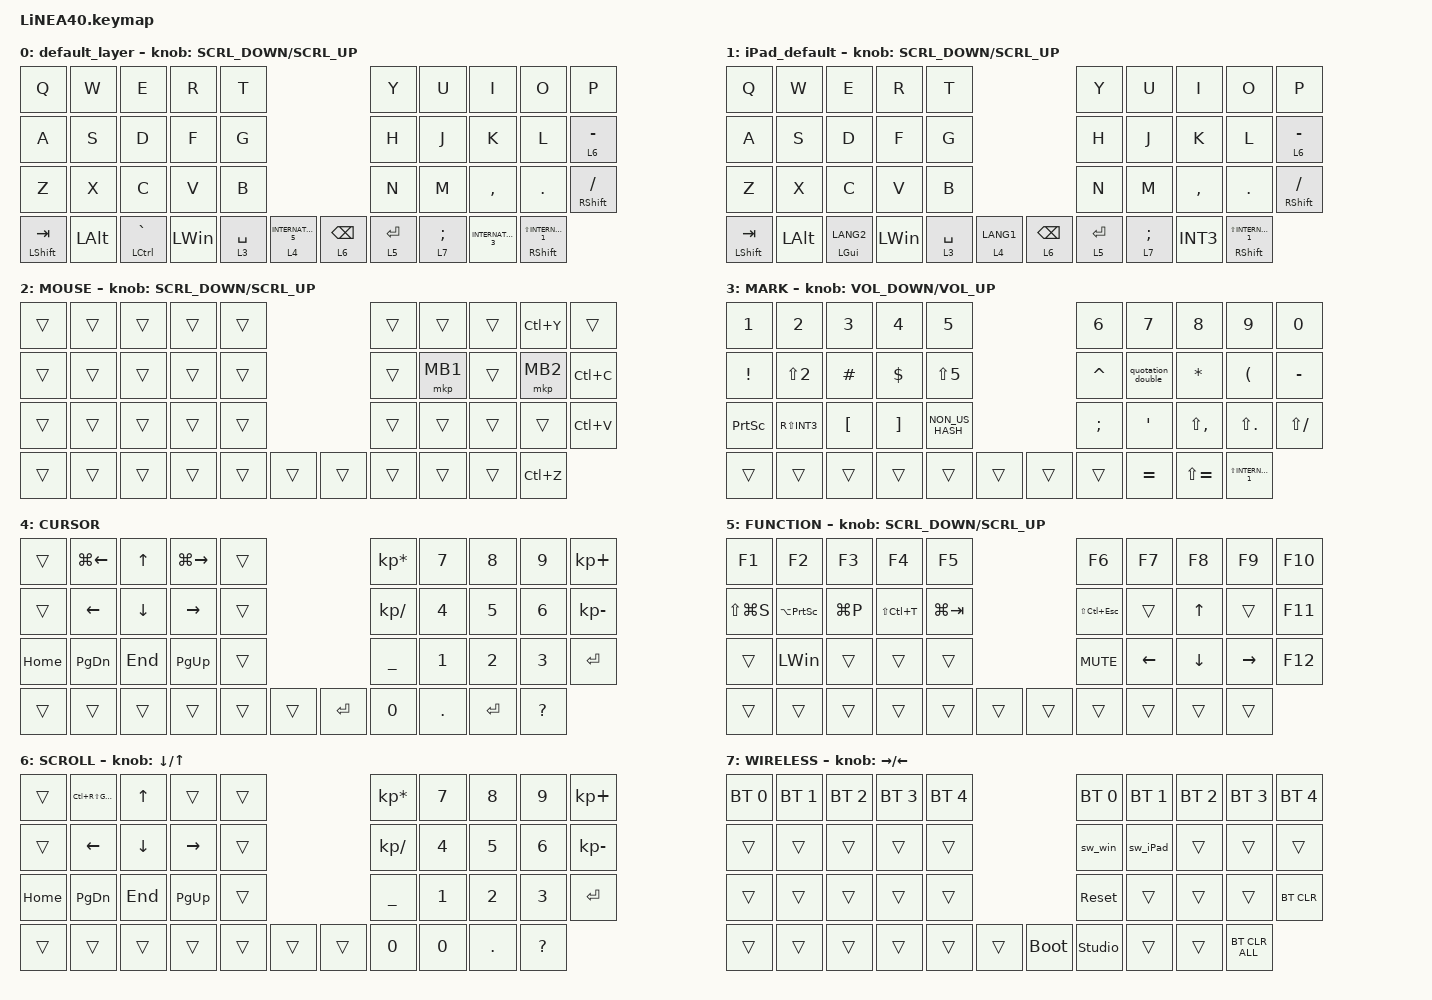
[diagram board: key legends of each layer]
#define ZMK_POINTING_DEFAULT_SCRL_VAL 150

#include <dt-bindings/zmk/input_transform.h>
#include <input/processors.dtsi>
#include <zephyr/dt-bindings/input/input-event-codes.h>
#include <behaviors.dtsi>
#include <dt-bindings/zmk/bt.h>
#include <dt-bindings/zmk/keys.h>
#include <dt-bindings/zmk/pointing.h>

#define MOUSE 1
#define MARK 2
#define CURSOR 3
#define FUNCTION 4
#define SCROLL 5
#define WIRELESS 6

//mouse cursol

&mmv {
    delay-ms = <20>;
    trigger-period-ms = <5>;
    time-to-max-speed-ms = <100>;
    acceleration-exponent = <2>;
};

//mouse scroll

&msc {
    delay-ms = <3>;
    trigger-period-ms = <3>;
    time-to-max-speed-ms = <100>;
    acceleration-exponent = <0>;
};

/ {
    input_processors {
        zip_wheel_scaler: zip_wheel_scaler {
            compatible = "zmk,input-processor-scaler";
            #input-processor-cells = <2>;
            type = <INPUT_EV_REL>;
            codes = <INPUT_REL_WHEEL>;
            track-remainders;
        };
    };
};

&msc_input_listener {
    speed_up {
        layers = <FUNCTION>;
        input-processors = <&zip_wheel_scaler 3 1>; //スクロールを3倍速にする
    };
};

&trackball_listener {
    scroller {
        layers = <SCROLL>;
        input-processors =
            <&zip_xy_transform INPUT_TRANSFORM_Y_INVERT>,
            //スクロール方向を逆転,,,,,,,,,,,,,,,,,,,,,,,
            <&zip_xy_to_scroll_mapper>;
    };
};

/ {
    combos {
        compatible = "zmk,combos";

        ZenkakuHankaku {
            bindings = <&kp GRAVE>;
            key-positions = <11 12>;
        };

        DeleteKey {
            bindings = <&kp DEL>;
            key-positions = <7 8>;
        };

        CenterClick {
            bindings = <&mkp MB3>;
            key-positions = <17 16>;
        };

        RightClick {
            bindings = <&mkp MB2>;
            key-positions = <18 17>;
        };

        PrevClick {
            bindings = <&mkp MB4>;
            key-positions = <27 28>;
        };

        ClickNext {
            bindings = <&mkp MB5>;
            key-positions = <26 27>;
        };

        Escape {
            bindings = <&kp ESCAPE>;
            key-positions = <0 1>;
        };

        toiPadtest {
            bindings = <&to 1>;
            key-positions = <4 14>;
        };

        to0foriPad {
            bindings = <&to 0>;
            key-positions = <5 15>;
        };

        ipadglobe {
            bindings = <&kp GLOBE>;
            key-positions = <1 2>;
        };
    };

    behaviors {
        re_kp: sensor_rotate_kp {
            compatible = "zmk,behavior-sensor-rotate-var";
            #sensor-binding-cells = <2>;
            bindings = <&kp>, <&kp>;
        };

        mouse_scrl: mouse_wheel_scrl {
            compatible = "zmk,behavior-sensor-rotate-var";
            #sensor-binding-cells = <2>;
            bindings = <&msc>, <&msc>;

            tap-ms = <20>;
        };

        quotation_double: quotation_double {
            compatible = "zmk,behavior-tap-dance";
            label = "QUOTATION_DOUBLE";
            #binding-cells = <0>;
            bindings = <&kp LS(N7)>, <&kp LS(NUMBER_2)>;
        };
    };

    macros {
        sw_win: sw_win {
            compatible = "zmk,behavior-macro";
            #binding-cells = <0>;
            bindings = <&bt BT_SEL 0>, <&macro_wait_time 200>, <&to 0>;

            label = "SW_WIN";
        };

        sw_iPad: sw_iPad {
            compatible = "zmk,behavior-macro";
            #binding-cells = <0>;
            bindings = <&bt BT_SEL 1>, <&macro_wait_time 200>, <&to 1>;

            label = "SW_IPAD";
        };
    };

    keymap {
        compatible = "zmk,keymap";

        default_layer {
            bindings = <
&kp Q               &kp W         &kp E                   &kp R         &kp T                                                  &kp Y        &kp U  &kp I       &kp O                &kp P
&kp A               &kp S         &kp D                   &kp F         &kp G                                                  &kp H        &kp J  &kp K       &kp L                &lt 6 MINUS
&kp Z               &kp X         &kp C                   &kp V         &kp B                                                  &kp N        &kp M  &kp COMMA   &kp DOT              &mt RIGHT_SHIFT SLASH
&mt LEFT_SHIFT TAB  &kp LEFT_ALT  &mt LEFT_CONTROL GRAVE  &kp LEFT_WIN  &lt 3 SPACE  &lt 4 INTERNATIONAL_5    &lt 6 BACKSPACE  &lt 5 ENTER         &lt 7 SEMI  &kp INTERNATIONAL_3  &mt RIGHT_SHIFT LS(INTERNATIONAL_1)
            >;

            sensor-bindings = <&mouse_scrl SCRL_DOWN SCRL_UP>;
        };

        iPad_default {
            bindings = <
&kp Q               &kp W         &kp E               &kp R         &kp T                                        &kp Y        &kp U  &kp I       &kp O     &kp P
&kp A               &kp S         &kp D               &kp F         &kp G                                        &kp H        &kp J  &kp K       &kp L     &lt 6 MINUS
&kp Z               &kp X         &kp C               &kp V         &kp B                                        &kp N        &kp M  &kp COMMA   &kp DOT   &mt RIGHT_SHIFT SLASH
&mt LEFT_SHIFT TAB  &kp LEFT_ALT  &mt LEFT_GUI LANG2  &kp LEFT_WIN  &lt 3 SPACE  &lt 4 LANG1    &lt 6 BACKSPACE  &lt 5 ENTER         &lt 7 SEMI  &kp INT3  &mt RIGHT_SHIFT LS(INTERNATIONAL_1)
            >;

            sensor-bindings = <&mouse_scrl SCRL_DOWN SCRL_UP>;
        };

        MOUSE {
            bindings = <
&trans  &trans  &trans  &trans  &trans                    &trans  &trans    &trans  &kp LC(Y)  &trans
&trans  &trans  &trans  &trans  &trans                    &trans  &mkp MB1  &trans  &mkp MB2   &kp LC(C)
&trans  &trans  &trans  &trans  &trans                    &trans  &trans    &trans  &trans     &kp LC(V)
&trans  &trans  &trans  &trans  &trans  &trans    &trans  &trans            &trans  &trans     &kp LC(Z)
            >;

            sensor-bindings = <&mouse_scrl SCRL_DOWN SCRL_UP>;
        };

        MARK {
            bindings = <
&kp NUMBER_1     &kp NUMBER_2      &kp NUMBER_3      &kp NUMBER_4       &kp N5                             &kp NUMBER_6   &kp N7             &kp N8         &kp N9                &kp N0
&kp EXCLAMATION  &kp LS(NUMBER_2)  &kp HASH          &kp DOLLAR         &kp LS(N5)                         &kp CARET      &quotation_double  &kp ASTERISK   &kp LEFT_PARENTHESIS  &kp MINUS
&kp PRINTSCREEN  &kp RS(INT3)      &kp LEFT_BRACKET  &kp RIGHT_BRACKET  &kp NON_US_HASH                    &kp SEMICOLON  &kp SINGLE_QUOTE   &kp LS(COMMA)  &kp LS(PERIOD)        &kp LS(SLASH)
&trans           &trans            &trans            &trans             &trans           &trans    &trans  &trans                            &kp EQUAL      &kp LS(EQUAL)         &kp LS(INTERNATIONAL_1)
            >;

            sensor-bindings = <&re_kp C_VOLUME_DOWN C_VOLUME_UP>;
        };

        CURSOR {
            bindings = <
&trans    &kp LG(LEFT_ARROW)  &kp UP_ARROW  &kp LG(RIGHT_ARROW)  &trans                       &kp KP_MULTIPLY  &kp NUMBER_7  &kp NUMBER_8  &kp NUMBER_9  &kp KP_PLUS
&trans    &kp LEFT_ARROW      &kp DOWN      &kp RIGHT_ARROW      &trans                       &kp KP_SLASH     &kp NUMBER_4  &kp NUMBER_5  &kp NUMBER_6  &kp KP_MINUS
&kp HOME  &kp PAGE_DOWN       &kp END       &kp PAGE_UP          &trans                       &kp UNDER        &kp NUMBER_1  &kp NUMBER_2  &kp NUMBER_3  &kp ENTER
&trans    &trans              &trans        &trans               &trans  &trans    &kp ENTER  &kp NUMBER_0                   &kp DOT       &kp ENTER     &kp QUESTION
            >;
        };

        FUNCTION {
            bindings = <
&kp F1         &kp F2               &kp F3     &kp F4         &kp F5                         &kp F6              &kp F7          &kp F8        &kp F9           &kp F10
&kp LS(LG(S))  &kp LA(PRINTSCREEN)  &kp LG(P)  &kp LS(LC(T))  &kp LG(TAB)                    &kp LS(LC(ESCAPE))  &trans          &kp UP_ARROW  &trans           &kp F11
&trans         &kp LEFT_WIN         &trans     &trans         &trans                         &kp C_MUTE          &kp LEFT_ARROW  &kp DOWN      &kp RIGHT_ARROW  &kp F12
&trans         &trans               &trans     &trans         &trans       &trans    &trans  &trans                              &trans        &trans           &trans
            >;

            sensor-bindings = <&mouse_scrl SCRL_DOWN SCRL_UP>;
        };

        SCROLL {
            bindings = <
&trans    &kp LC(RS(GLOBE))  &kp UP_ARROW  &trans           &trans                    &kp KP_MULTIPLY  &kp NUMBER_7  &kp NUMBER_8  &kp NUMBER_9  &kp KP_PLUS
&trans    &kp LEFT_ARROW     &kp DOWN      &kp RIGHT_ARROW  &trans                    &kp KP_SLASH     &kp NUMBER_4  &kp NUMBER_5  &kp NUMBER_6  &kp KP_MINUS
&kp HOME  &kp PAGE_DOWN      &kp END       &kp PAGE_UP      &trans                    &kp UNDER        &kp NUMBER_1  &kp NUMBER_2  &kp NUMBER_3  &kp ENTER
&trans    &trans             &trans        &trans           &trans  &trans    &trans  &kp NUMBER_0                   &kp NUMBER_0  &kp DOT       &kp QUESTION
            >;

            sensor-bindings = <&inc_dec_kp DOWN_ARROW UP_ARROW>;
        };

        WIRELESS {
            bindings = <
&bt BT_SEL 0  &bt BT_SEL 1  &bt BT_SEL 2  &bt BT_SEL 3  &bt BT_SEL 4                         &bt BT_SEL 0    &bt BT_SEL 1  &bt BT_SEL 2  &bt BT_SEL 3  &bt BT_SEL 4
&trans        &trans        &trans        &trans        &trans                               &sw_win         &sw_iPad      &trans        &trans        &trans
&trans        &trans        &trans        &trans        &trans                               &sys_reset      &trans        &trans        &trans        &bt BT_CLR
&trans        &trans        &trans        &trans        &trans        &trans    &bootloader  &studio_unlock                &trans        &trans        &bt BT_CLR_ALL
            >;

            sensor-bindings = <&inc_dec_kp RIGHT_ARROW LEFT_ARROW>;
        };
    };
};
